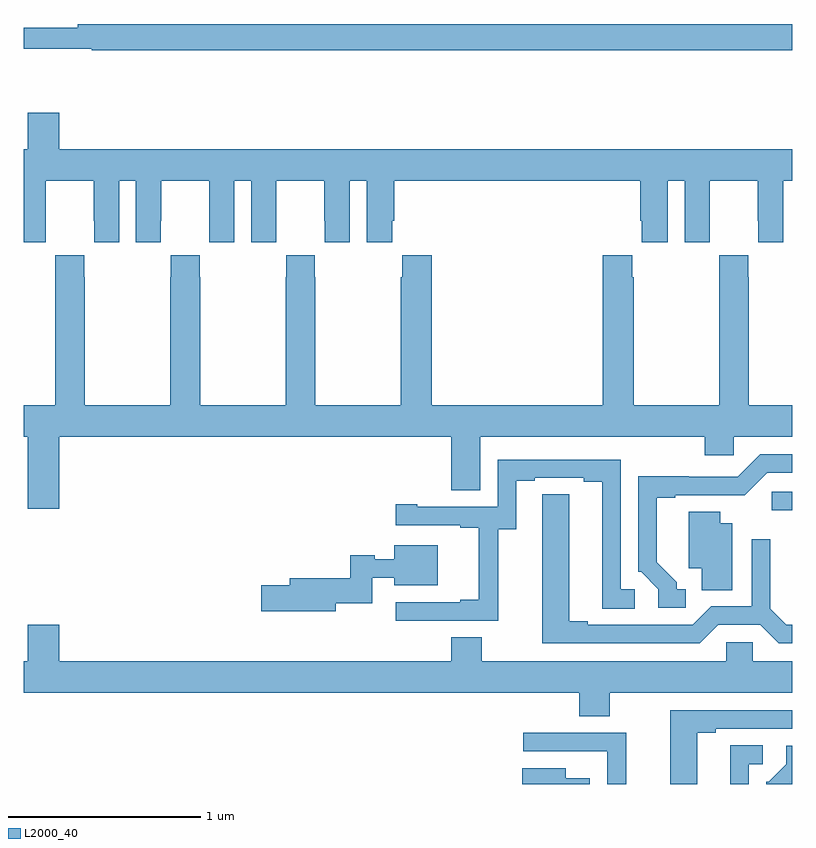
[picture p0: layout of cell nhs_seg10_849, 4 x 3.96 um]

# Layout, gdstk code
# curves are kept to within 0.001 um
import gdstk
lib = gdstk.Library(unit=1e-6, precision=1e-09)
def R(c, l, rs):  # rectangles x0, y0, x1, y1
    for r in rs: c.add(gdstk.rectangle(r[:2], r[2:], *l))
def P(c, l, *ps):  # polygons
    for p in ps: c.add(gdstk.Polygon(p, *l))
L2000_40 = (2000, 40)

nhs_seg10_849 = lib.new_cell('nhs_seg10_849')
R(nhs_seg10_849, L2000_40, [(156.894,1307.924,157,1308.021)])
P(nhs_seg10_849, L2000_40, [(157,1310.456),(153.28,1310.456),(153.28,1310.437),(153,1310.437),(153,1310.328),(153.355,1310.328),(153.355,1310.32),(157,1310.32)],
  [(153.114,1309.432),(153.115,1309.432),(153.115,1309.64),(153.365,1309.64),(153.365,1309.432),(153.366,1309.432),(153.366,1309.32),(153.496,1309.32),(153.496,1309.64),(153.584,1309.64),(153.584,1309.32),(153.714,1309.32),(153.714,1309.432),(153.715,1309.432),(153.715,1309.64),(153.965,1309.64),(153.965,1309.432),(153.966,1309.432),(153.966,1309.32),(154.096,1309.32),(154.096,1309.64),(154.184,1309.64),(154.184,1309.32),(154.314,1309.32),(154.314,1309.432),(154.315,1309.432),(154.315,1309.64),(154.565,1309.64),(154.565,1309.432),(154.566,1309.432),(154.566,1309.32),(154.696,1309.32),(154.696,1309.64),(154.784,1309.64),(154.784,1309.32),(154.918,1309.32),(154.918,1309.432),(154.928,1309.432),(154.928,1309.64),(156.209,1309.64),(156.209,1309.432),(156.218,1309.432),(156.218,1309.32),(156.352,1309.32),(156.352,1309.64),(156.44,1309.64),(156.44,1309.32),(156.57,1309.32),(156.57,1309.432),(156.571,1309.432),(156.571,1309.64),(156.821,1309.64),(156.821,1309.432),(156.822,1309.432),(156.822,1309.32),(156.952,1309.32),(156.952,1309.64),(157,1309.64),(157,1309.804),(153.184,1309.804),(153.184,1309.993),(153.02,1309.993),(153.02,1309.804),(153,1309.804),(153,1309.32),(153.114,1309.32)],
  [(153.184,1308.308),(155.225,1308.308),(155.225,1308.028),(155.377,1308.028),(155.377,1308.308),(156.545,1308.308),(156.545,1308.21),(156.696,1308.21),(156.696,1308.308),(157,1308.308),(157,1308.472),(156.774,1308.472),(156.774,1309.139),(156.771,1309.139),(156.771,1309.252),(156.621,1309.252),(156.621,1309.139),(156.619,1309.139),(156.619,1308.472),(156.174,1308.472),(156.174,1309.139),(156.167,1309.139),(156.167,1309.252),(156.014,1309.252),(156.014,1308.472),(155.123,1308.472),(155.123,1309.252),(154.969,1309.252),(154.969,1309.139),(154.963,1309.139),(154.963,1308.472),(154.518,1308.472),(154.518,1309.139),(154.515,1309.139),(154.515,1309.252),(154.365,1309.252),(154.365,1309.139),(154.363,1309.139),(154.363,1308.472),(153.918,1308.472),(153.918,1309.139),(153.915,1309.139),(153.915,1309.252),(153.765,1309.252),(153.765,1309.139),(153.763,1309.139),(153.763,1308.472),(153.318,1308.472),(153.318,1309.139),(153.315,1309.139),(153.315,1309.252),(153.165,1309.252),(153.165,1309.139),(153.163,1309.139),(153.163,1308.472),(153,1308.472),(153,1308.308),(153.02,1308.308),(153.02,1307.934),(153.184,1307.934)],
  [(156.445,1307.514),(156.4,1307.514),(156.4,1307.549),(156.295,1307.654),(156.295,1307.991),(156.391,1307.991),(156.391,1308.003),(156.752,1308.002),(156.87,1308.12),(157,1308.12),(157,1308.216),(156.834,1308.216),(156.717,1308.099),(156.461,1308.099),(156.461,1308.101),(156.198,1308.101),(156.198,1307.604),(156.213,1307.604),(156.303,1307.514),(156.303,1307.418),(156.445,1307.418)],
  [(155.469,1307.827),(155.563,1307.827),(155.563,1308.078),(155.659,1308.078),(155.659,1308.093),(155.915,1308.093),(155.915,1308.073),(156.011,1308.073),(156.011,1307.413),(156.181,1307.413),(156.181,1307.514),(156.108,1307.514),(156.108,1308.189),(155.466,1308.189),(155.466,1307.943),(155.047,1307.943),(155.047,1307.956),(154.935,1307.956),(154.935,1307.847),(155.273,1307.847),(155.273,1307.835),(155.369,1307.835),(155.369,1307.458),(155.273,1307.458),(155.273,1307.445),(154.935,1307.445),(154.935,1307.349),(155.469,1307.349)],
  [(156.615,1307.328),(156.833,1307.328),(156.929,1307.232),(157,1307.232),(157,1307.328),(156.969,1307.328),(156.885,1307.412),(156.885,1307.773),(156.789,1307.773),(156.789,1307.424),(156.579,1307.424),(156.483,1307.328),(155.935,1307.328),(155.935,1307.348),(155.839,1307.348),(155.839,1308.008),(155.7,1308.008),(155.699,1307.232),(156.519,1307.232)],
  [(156.688,1307.857),(156.625,1307.857),(156.625,1307.918),(156.461,1307.918),(156.461,1307.624),(156.53,1307.624),(156.53,1307.509),(156.688,1307.509)],
  [(154.624,1307.442),(154.815,1307.442),(154.815,1307.574),(154.928,1307.574),(154.928,1307.534),(155.155,1307.534),(155.155,1307.743),(154.928,1307.743),(154.928,1307.671),(154.827,1307.671),(154.827,1307.69),(154.699,1307.69),(154.699,1307.57),(154.385,1307.57),(154.385,1307.534),(154.236,1307.534),(154.236,1307.399),(154.624,1307.399)],
  [(156.051,1306.976),(157,1306.976),(157,1307.14),(156.795,1307.14),(156.795,1307.238),(156.657,1307.238),(156.657,1307.14),(155.385,1307.14),(155.385,1307.264),(155.225,1307.264),(155.225,1307.14),(153.184,1307.14),(153.184,1307.329),(153.02,1307.329),(153.02,1307.14),(153,1307.14),(153,1306.976),(155.891,1306.976),(155.891,1306.852),(156.051,1306.852)],
  [(156.505,1306.768),(156.601,1306.768),(156.601,1306.788),(157,1306.788),(157,1306.884),(156.365,1306.884),(156.365,1306.5),(156.505,1306.5)],
  [(156.135,1306.767),(155.601,1306.767),(155.601,1306.671),(156.035,1306.671),(156.035,1306.67),(156.036,1306.67),(156.036,1306.5),(156.135,1306.5)],
  [(156.774,1306.602),(156.847,1306.602),(156.847,1306.703),(156.677,1306.703),(156.677,1306.5),(156.774,1306.5)],
  [(157,1306.501),(157,1306.698),(156.969,1306.698),(156.969,1306.602),(156.879,1306.512),(156.864,1306.512),(156.864,1306.5),(156.999,1306.5)],
  [(155.947,1306.531),(155.821,1306.531),(155.821,1306.582),(155.594,1306.582),(155.594,1306.5),(155.947,1306.5)])

lib.write_gds('nhs_seg10_849.gds')
